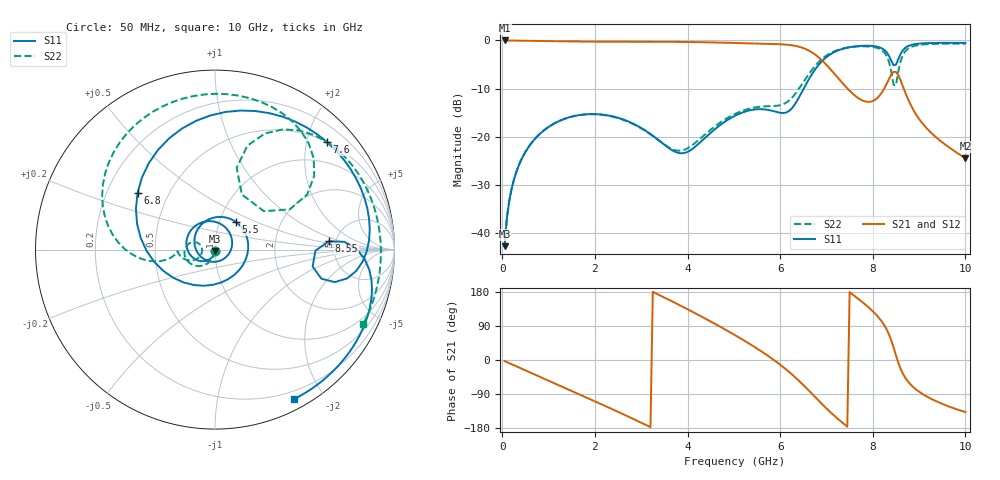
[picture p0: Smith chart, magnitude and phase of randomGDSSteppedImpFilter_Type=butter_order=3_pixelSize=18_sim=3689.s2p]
! freq	dB(S11)	phase(S11)	dB(S12)	phase(S12)
!  dB(S21)	phase(S21)	dB(S22)	phase(S22)
!S-par simulation data
#  GHz  S  DB  R 50
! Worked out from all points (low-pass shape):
!   200 points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, 50 MHz to 10 GHz, reference 50 ohm
!   highest |S21| = -0.01 dB at 50 MHz (marker M1); lowest = -24.5 dB at 10 GHz (marker M2)
!   |S21| within 3 dB of the highest: start of sweep to 6.765 GHz
!   lowest |S11| = -42.7 dB at 50 MHz (marker M3), VSWR 1.01, Z = 50 - j0.733 ohm
!   |S11| at or under -10 dB: start of sweep to 6.508 GHz
!   |S22| runs from -42.7 to -0.7 dB; largest |S21 - S12| = 0
!   S11 on the Smith chart (normalised r, x): 50 MHz: 1.00, -0.01; 5.5 GHz: 1.19, +0.38; 6.8 GHz: 0.33, +0.29; 7.6 GHz: 0.50, +2.40; 8.55 GHz: 4.38, +0.68; 10 GHz: 0.11, -1.65
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0.05  -42.69 -91.2  -0.01 -2.8  -0.01 -2.8  -42.68 -90.0
0.2  -30.84 -102.9  -0.02 -11.0  -0.02 -11.0  -30.82 -98.4
0.5  -23.14 -123.4  -0.06 -27.4  -0.06 -27.4  -23.11 -112.2
1.75  -15.38 151.4  -0.24 -95.4  -0.24 -95.4  -15.39 -163.8
2.7  -16.73 77.1  -0.27 -148.2  -0.27 -148.2  -16.80 165.6
3.4  -20.88 2.2  -0.28 170.9  -0.28 170.9  -20.90 161.1
4.3  -20.91 -157.0  -0.37 114.8  -0.37 114.8  -20.15 -154.6
5.05  -15.51 107.5  -0.53 63.8  -0.53 63.8  -15.13 -161.9
5.5  -14.28 53.5  -0.64 30.3  -0.64 30.3  -13.83 -173.4
6.1  -15.03 -53.1  -0.85 -22.0  -0.85 -22.0  -13.09 -173.6
6.4  -11.93 -133.8  -1.29 -54.1  -1.29 -54.1  -10.10 -168.2
6.7  -6.80 161.7  -2.57 -90.7  -2.57 -90.7  -5.94 179.5
6.8  -5.45 143.9  -3.27 -103.3  -3.27 -103.3  -4.81 171.9
7.2  -2.28 85.5  -7.23 -150.4  -7.23 -150.4  -2.13 136.2
7.6  -1.26 43.7  -11.33 169.8  -11.33 169.8  -1.31 101.8
8.05  -1.22 7.3  -12.32 122.4  -12.32 122.4  -1.44 63.7
8.35  -3.20 -15.2  -8.01 67.5  -8.01 67.5  -4.46 30.9
8.45  -5.16 -9.9  -6.50 32.9  -6.50 32.9  -9.21 38.1
8.55  -3.93 4.2  -7.18 -6.5  -7.18 -6.5  -6.53 75.2
8.75  -1.23 -7.5  -11.93 -55.2  -11.93 -55.2  -1.80 54.6
9.15  -0.57 -30.5  -18.08 -95.2  -18.08 -95.2  -0.80 21.3
10  -0.52 -62.3  -24.46 -137.4  -24.46 -137.4  -0.69 -26.8
